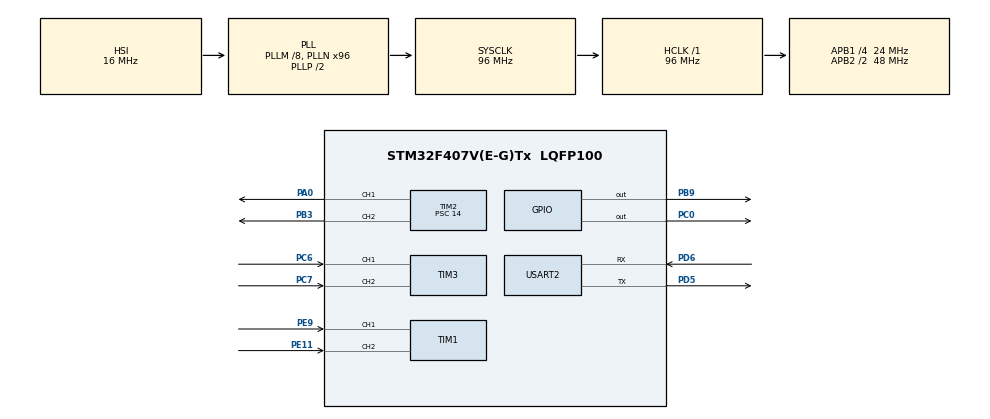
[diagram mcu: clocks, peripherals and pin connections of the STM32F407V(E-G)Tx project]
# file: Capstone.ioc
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Dma.Request0=USART2_RX
Dma.Request1=USART2_TX
Dma.USART2_RX.0.Direction=DMA_PERIPH_TO_MEMORY
Dma.USART2_RX.0.FIFOMode=DMA_FIFOMODE_DISABLE
Dma.USART2_RX.0.Instance=DMA1_Stream5
Dma.USART2_RX.0.MemDataAlignment=DMA_MDATAALIGN_BYTE
Dma.USART2_RX.0.MemInc=DMA_MINC_ENABLE
Dma.USART2_RX.0.Mode=DMA_NORMAL
Dma.USART2_RX.0.PeriphDataAlignment=DMA_PDATAALIGN_BYTE
Dma.USART2_RX.0.PeriphInc=DMA_PINC_DISABLE
Dma.USART2_RX.0.Priority=DMA_PRIORITY_VERY_HIGH
Dma.USART2_TX.1.Direction=DMA_MEMORY_TO_PERIPH
Dma.USART2_TX.1.FIFOMode=DMA_FIFOMODE_DISABLE
Dma.USART2_TX.1.Instance=DMA1_Stream6
Dma.USART2_TX.1.MemDataAlignment=DMA_MDATAALIGN_BYTE
Dma.USART2_TX.1.MemInc=DMA_MINC_ENABLE
Dma.USART2_TX.1.Mode=DMA_NORMAL
Dma.USART2_TX.1.PeriphDataAlignment=DMA_PDATAALIGN_BYTE
Dma.USART2_TX.1.PeriphInc=DMA_PINC_DISABLE
Dma.USART2_TX.1.Priority=DMA_PRIORITY_VERY_HIGH
Mcu.Family=STM32F4
Mcu.Name=STM32F407V(E-G)Tx
Mcu.Package=LQFP100
NVIC.DMA1_Stream5_IRQn=true\:0\:0\:false\:false\:true\:false\:true\:true
NVIC.DMA1_Stream6_IRQn=true\:0\:0\:false\:false\:true\:false\:true\:true
NVIC.PriorityGroup=NVIC_PRIORITYGROUP_4
NVIC.TIM5_IRQn=true\:0\:0\:true\:false\:true\:true\:true\:true
NVIC.TIM8_TRG_COM_TIM14_IRQn=true\:0\:0\:false\:false\:true\:true\:true\:true
NVIC.USART2_IRQn=true\:0\:0\:true\:false\:true\:true\:true\:true
PA0-WKUP.Signal=S_TIM2_CH1_ETR
PB3.Signal=S_TIM2_CH2
PB9.GPIO_Speed=GPIO_SPEED_FREQ_HIGH
PB9.Signal=GPIO_Output
PC0.Signal=GPIO_Output
PC6.Signal=S_TIM3_CH1
PC7.Signal=S_TIM3_CH2
PD5.Mode=Asynchronous
PD5.Signal=USART2_TX
PD6.Mode=Asynchronous
PD6.Signal=USART2_RX
PE11.Signal=S_TIM1_CH2
PE9.Signal=S_TIM1_CH1
ProjectManager.HeapSize=0x200
ProjectManager.StackSize=0x400
ProjectManager.TargetToolchain=STM32CubeIDE
RCC.48MHZClocksFreq_Value=48000000
RCC.AHBFreq_Value=96000000
RCC.APB1CLKDivider=RCC_HCLK_DIV4
RCC.APB1Freq_Value=24000000
RCC.APB1TimFreq_Value=48000000
RCC.APB2CLKDivider=RCC_HCLK_DIV2
RCC.APB2Freq_Value=48000000
RCC.APB2TimFreq_Value=96000000
RCC.CortexFreq_Value=96000000
RCC.HCLKFreq_Value=96000000
RCC.HSE_VALUE=25000000
RCC.HSI_VALUE=16000000
RCC.LSE_VALUE=32768
RCC.PLLM=8
RCC.PLLN=96
RCC.RCC_RTC_Clock_Source=RCC_RTCCLKSOURCE_LSI
RCC.RCC_RTC_Clock_SourceVirtual=RCC_RTCCLKSOURCE_LSI
RCC.SYSCLKFreq_VALUE=96000000
RCC.SYSCLKSource=RCC_SYSCLKSOURCE_PLLCLK
RCC.VCOOutputFreq_Value=192000000
SH.S_TIM1_CH1.0=TIM1_CH1,Encoder_Interface
SH.S_TIM1_CH2.0=TIM1_CH2,Encoder_Interface
SH.S_TIM2_CH1_ETR.0=TIM2_CH1,PWM Generation1 CH1
SH.S_TIM2_CH2.0=TIM2_CH2,PWM Generation2 CH2
SH.S_TIM3_CH1.0=TIM3_CH1,Encoder_Interface
SH.S_TIM3_CH2.0=TIM3_CH2,Encoder_Interface
TIM14.Period=50
TIM14.Prescaler=9600-1
TIM2.Channel-PWM\ Generation1\ CH1=TIM_CHANNEL_1
TIM2.Channel-PWM\ Generation2\ CH2=TIM_CHANNEL_2
TIM2.Period=600
TIM2.Prescaler=14
TIM5.Period=50
TIM5.Prescaler=9600-1
USART2.VirtualMode=VM_ASYNC
VP_TIM14_VS_ClockSourceINT.Mode=Enable_Timer
VP_TIM5_VS_ClockSourceINT.Mode=Internal
board=custom

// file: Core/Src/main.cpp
/* USER CODE BEGIN Header */
/**
  ******************************************************************************
  * @file           : main.c
  * @brief          : Main program body
  ******************************************************************************
  * @attention
  *
  * Copyright (c) 2023 STMicroelectronics.
  * All rights reserved.
  *
  * This software is licensed under terms that can be found in the LICENSE file
  * in the root directory of this software component.
  * If no LICENSE file comes with this software, it is provided AS-IS.
  *
  ******************************************************************************
  */
/* USER CODE END Header */
#include "main.h"

/* USER CODE BEGIN Includes */
#include "string.h"
#include "stdio.h"
#include "mainpp.h"
#include "math.h"
/* USER CODE END Includes */

/* USER CODE BEGIN PD */
#define TRUE  1
#define FALSE 0
/* USER CODE END PD */

TIM_HandleTypeDef htim1;
TIM_HandleTypeDef htim2;
TIM_HandleTypeDef htim3;
TIM_HandleTypeDef htim5;
TIM_HandleTypeDef htim14;

UART_HandleTypeDef huart2;
DMA_HandleTypeDef hdma_usart2_rx;
DMA_HandleTypeDef hdma_usart2_tx;

/* USER CODE BEGIN PV */
//Attitude attitude;

float Setpoint_value_m1, Setpoint_value_m2 = 0;

//Constant Kp
float Kp_m1, Kp_m2 = 0.0;
//Constant Ki
float Ki_m1, Ki_m2 = 0.0;
//Constant Kd
float Kd_m1, Kd_m2 = 0.0;

volatile int16_t Encoder_cnt_m1, Encoder_cnt_m2, duty_m1, duty_m2;
uint16_t cnt = 0;

struct Wheel m1 = { 0, 0, 0, 0, 0, 0, 0, 0 };
struct Wheel m2 = { 0, 0, 0, 0, 0, 0, 0, 0 };

int Encoder_cnt1;
int pre_Encoder_cnt1;
int Encoder_cnt2;
int pre_Encoder_cnt2;
float encoder_cpr = 40000.0; // counts per revolution for the encoder
float rps1 = 0.0; // calculate RPS 1
float rps1_pre = 0.0; // calculate RPS 1
float rps1_filter = 0.0;
float rps1_filter_pre = 0.0;
float rps2 = 0.0; // calculate RPS 2
float rps2_pre = 0.0; // calculate RPS 1
float rps2_filter = 0.0;
float rps2_filter_pre = 0.0;
float rpm1 = 0.0;
float rpm2 = 0.0;
float start_time = 0;
float end_time = 0;
float frequency = 0;
int stop = 0;
/* USER CODE END PV */

void SystemClock_Config(void);
static void MX_GPIO_Init(void);
static void MX_DMA_Init(void);
static void MX_USART2_UART_Init(void);
static void MX_TIM2_Init(void);
static void MX_TIM3_Init(void);
static void MX_TIM5_Init(void);
static void MX_TIM14_Init(void);
static void MX_TIM1_Init(void);

/* USER CODE BEGIN 0 */
//MPUXX50 imu(&hi2c2, AD0_LOW);
/* USER CODE END 0 */

int main(void)
{

  /* MCU Configuration--------------------------------------------------------*/

  /* Reset of all peripherals, Initializes the Flash interface and the Systick. */
  HAL_Init();

  /* Configure the system clock */
  SystemClock_Config();

  /* Initialize all configured peripherals */
  MX_GPIO_Init();
  MX_DMA_Init();
  MX_USART2_UART_Init();
  MX_TIM2_Init();
  MX_TIM3_Init();
  MX_TIM5_Init();
  MX_TIM14_Init();
  MX_TIM1_Init();
  /* USER CODE BEGIN 2 */
  // Configure IMU
//   imu.setGyroFullScaleRange(GFSR_500DPS);
//   imu.setAccFullScaleRange(AFSR_4G);
//   imu.setDeltaTime(0.01);
//   imu.setTau(0.98);

   // Check if IMU configured properly and block if it didn't
   //while (imu.begin() != TRUE){HAL_Delay(500);}

   // Calibrate the IMU
   //imu.calibrateGyro(1500);

  //Set up 4x mode
   htim1.Instance->SMCR &= ~TIM_SMCR_SMS; // Clear EncoderMode field
   htim1.Instance->SMCR |= TIM_ENCODERMODE_TI12 << TIM_SMCR_SMS_Pos; // Set EncoderMode field to TIM_ENCODERMODE_TI12
   htim1.Instance->CCER &= ~TIM_CCER_CC1P; // Clear IC1Polarity field
   htim1.Instance->CCER |= TIM_ICPOLARITY_BOTHEDGE << TIM_CCER_CC1P_Pos; // Set IC1Polarity field to TIM_ICPOLARITY_BOTHEDGE
   htim1.Instance->CCER &= ~TIM_CCER_CC2P; // Clear IC2Polarity field
   htim1.Instance->CCER |= TIM_ICPOLARITY_BOTHEDGE << TIM_CCER_CC2P_Pos; // Set IC2Polarity field to TIM_ICPOLARITY_BOTHEDGE

   htim3.Instance->SMCR &= ~TIM_SMCR_SMS; // Clear EncoderMode field
   htim3.Instance->SMCR |= TIM_ENCODERMODE_TI12 << TIM_SMCR_SMS_Pos; // Set EncoderMode field to TIM_ENCODERMODE_TI12
   htim3.Instance->CCER &= ~TIM_CCER_CC1P; // Clear IC1Polarity field
   htim3.Instance->CCER |= TIM_ICPOLARITY_BOTHEDGE << TIM_CCER_CC1P_Pos; // Set IC1Polarity field to TIM_ICPOLARITY_BOTHEDGE
   htim3.Instance->CCER &= ~TIM_CCER_CC2P; // Clear IC2Polarity field
   htim3.Instance->CCER |= TIM_ICPOLARITY_BOTHEDGE << TIM_CCER_CC2P_Pos; // Set IC2Polarity field to TIM_ICPOLARITY_BOTHEDGE

	//Start timer
	HAL_TIM_PWM_Start(&htim2, TIM_CHANNEL_1);
	HAL_TIM_PWM_Start(&htim2, TIM_CHANNEL_2);
	HAL_TIM_Encoder_Start(&htim1, TIM_CHANNEL_1 | TIM_CHANNEL_2);
	HAL_TIM_Encoder_Start(&htim3, TIM_CHANNEL_1 | TIM_CHANNEL_2);
	HAL_TIM_Base_Start_IT(&htim5);
	HAL_TIM_Base_Start_IT(&htim14);

	// Init setup for rosserial
	setup();
  /* USER CODE END 2 */

  /* Infinite loop */
  while (1)
  {

    /* USER CODE BEGIN 3 */
	  loop();
  }
  /* USER CODE END 3 */
}

void SystemClock_Config(void)
{
  RCC_OscInitTypeDef RCC_OscInitStruct = {0};
  RCC_ClkInitTypeDef RCC_ClkInitStruct = {0};

  /** Configure the main internal regulator output voltage
  */
  __HAL_RCC_PWR_CLK_ENABLE();
  __HAL_PWR_VOLTAGESCALING_CONFIG(PWR_REGULATOR_VOLTAGE_SCALE1);

  /** Initializes the RCC Oscillators according to the specified parameters
  * in the RCC_OscInitTypeDef structure.
  */
  RCC_OscInitStruct.OscillatorType = RCC_OSCILLATORTYPE_HSI;
  RCC_OscInitStruct.HSIState = RCC_HSI_ON;
  RCC_OscInitStruct.HSICalibrationValue = RCC_HSICALIBRATION_DEFAULT;
  RCC_OscInitStruct.PLL.PLLState = RCC_PLL_ON;
  RCC_OscInitStruct.PLL.PLLSource = RCC_PLLSOURCE_HSI;
  RCC_OscInitStruct.PLL.PLLM = 8;
  RCC_OscInitStruct.PLL.PLLN = 96;
  RCC_OscInitStruct.PLL.PLLP = RCC_PLLP_DIV2;
  RCC_OscInitStruct.PLL.PLLQ = 4;
  if (HAL_RCC_OscConfig(&RCC_OscInitStruct) != HAL_OK)
  {
    Error_Handler();
  }

  /** Initializes the CPU, AHB and APB buses clocks
  */
  RCC_ClkInitStruct.ClockType = RCC_CLOCKTYPE_HCLK|RCC_CLOCKTYPE_SYSCLK
                              |RCC_CLOCKTYPE_PCLK1|RCC_CLOCKTYPE_PCLK2;
  RCC_ClkInitStruct.SYSCLKSource = RCC_SYSCLKSOURCE_PLLCLK;
  RCC_ClkInitStruct.AHBCLKDivider = RCC_SYSCLK_DIV1;
  RCC_ClkInitStruct.APB1CLKDivider = RCC_HCLK_DIV4;
  RCC_ClkInitStruct.APB2CLKDivider = RCC_HCLK_DIV2;

  if (HAL_RCC_ClockConfig(&RCC_ClkInitStruct, FLASH_LATENCY_3) != HAL_OK)
  {
    Error_Handler();
  }
}

static void MX_TIM1_Init(void)
{

  TIM_Encoder_InitTypeDef sConfig = {0};
  TIM_MasterConfigTypeDef sMasterConfig = {0};

  htim1.Instance = TIM1;
  htim1.Init.Prescaler = 0;
  htim1.Init.CounterMode = TIM_COUNTERMODE_UP;
  htim1.Init.Period = 65535;
  htim1.Init.ClockDivision = TIM_CLOCKDIVISION_DIV1;
  htim1.Init.RepetitionCounter = 0;
  htim1.Init.AutoReloadPreload = TIM_AUTORELOAD_PRELOAD_DISABLE;
  sConfig.EncoderMode = TIM_ENCODERMODE_TI1;
  sConfig.IC1Polarity = TIM_ICPOLARITY_RISING;
  sConfig.IC1Selection = TIM_ICSELECTION_DIRECTTI;
  sConfig.IC1Prescaler = TIM_ICPSC_DIV1;
  sConfig.IC1Filter = 0;
  sConfig.IC2Polarity = TIM_ICPOLARITY_RISING;
  sConfig.IC2Selection = TIM_ICSELECTION_DIRECTTI;
  sConfig.IC2Prescaler = TIM_ICPSC_DIV1;
  sConfig.IC2Filter = 0;
  if (HAL_TIM_Encoder_Init(&htim1, &sConfig) != HAL_OK)
  {
    Error_Handler();
  }
  sMasterConfig.MasterOutputTrigger = TIM_TRGO_RESET;
  sMasterConfig.MasterSlaveMode = TIM_MASTERSLAVEMODE_DISABLE;
  if (HAL_TIMEx_MasterConfigSynchronization(&htim1, &sMasterConfig) != HAL_OK)
  {
    Error_Handler();
  }

}

static void MX_TIM2_Init(void)
{

  TIM_MasterConfigTypeDef sMasterConfig = {0};
  TIM_OC_InitTypeDef sConfigOC = {0};

  htim2.Instance = TIM2;
  htim2.Init.Prescaler = 14;
  htim2.Init.CounterMode = TIM_COUNTERMODE_UP;
  htim2.Init.Period = 600;
  htim2.Init.ClockDivision = TIM_CLOCKDIVISION_DIV1;
  htim2.Init.AutoReloadPreload = TIM_AUTORELOAD_PRELOAD_DISABLE;
  if (HAL_TIM_PWM_Init(&htim2) != HAL_OK)
  {
    Error_Handler();
  }
  sMasterConfig.MasterOutputTrigger = TIM_TRGO_RESET;
  sMasterConfig.MasterSlaveMode = TIM_MASTERSLAVEMODE_DISABLE;
  if (HAL_TIMEx_MasterConfigSynchronization(&htim2, &sMasterConfig) != HAL_OK)
  {
    Error_Handler();
  }
  sConfigOC.OCMode = TIM_OCMODE_PWM1;
  sConfigOC.Pulse = 0;
  sConfigOC.OCPolarity = TIM_OCPOLARITY_HIGH;
  sConfigOC.OCFastMode = TIM_OCFAST_DISABLE;
  if (HAL_TIM_PWM_ConfigChannel(&htim2, &sConfigOC, TIM_CHANNEL_1) != HAL_OK)
  {
    Error_Handler();
  }
  if (HAL_TIM_PWM_ConfigChannel(&htim2, &sConfigOC, TIM_CHANNEL_2) != HAL_OK)
  {
    Error_Handler();
  }
  HAL_TIM_MspPostInit(&htim2);

}

static void MX_TIM3_Init(void)
{

  TIM_Encoder_InitTypeDef sConfig = {0};
  TIM_MasterConfigTypeDef sMasterConfig = {0};

  htim3.Instance = TIM3;
  htim3.Init.Prescaler = 0;
  htim3.Init.CounterMode = TIM_COUNTERMODE_UP;
  htim3.Init.Period = 65535;
  htim3.Init.ClockDivision = TIM_CLOCKDIVISION_DIV1;
  htim3.Init.AutoReloadPreload = TIM_AUTORELOAD_PRELOAD_DISABLE;
  sConfig.EncoderMode = TIM_ENCODERMODE_TI1;
  sConfig.IC1Polarity = TIM_ICPOLARITY_RISING;
  sConfig.IC1Selection = TIM_ICSELECTION_DIRECTTI;
  sConfig.IC1Prescaler = TIM_ICPSC_DIV1;
  sConfig.IC1Filter = 0;
  sConfig.IC2Polarity = TIM_ICPOLARITY_RISING;
  sConfig.IC2Selection = TIM_ICSELECTION_DIRECTTI;
  sConfig.IC2Prescaler = TIM_ICPSC_DIV1;
  sConfig.IC2Filter = 0;
  if (HAL_TIM_Encoder_Init(&htim3, &sConfig) != HAL_OK)
  {
    Error_Handler();
  }
  sMasterConfig.MasterOutputTrigger = TIM_TRGO_RESET;
  sMasterConfig.MasterSlaveMode = TIM_MASTERSLAVEMODE_DISABLE;
  if (HAL_TIMEx_MasterConfigSynchronization(&htim3, &sMasterConfig) != HAL_OK)
  {
    Error_Handler();
  }

}

static void MX_TIM5_Init(void)
{

  TIM_ClockConfigTypeDef sClockSourceConfig = {0};
  TIM_MasterConfigTypeDef sMasterConfig = {0};

  htim5.Instance = TIM5;
  htim5.Init.Prescaler = 9600-1;
  htim5.Init.CounterMode = TIM_COUNTERMODE_UP;
  htim5.Init.Period = 50;
  htim5.Init.ClockDivision = TIM_CLOCKDIVISION_DIV1;
  htim5.Init.AutoReloadPreload = TIM_AUTORELOAD_PRELOAD_DISABLE;
  if (HAL_TIM_Base_Init(&htim5) != HAL_OK)
  {
    Error_Handler();
  }
  sClockSourceConfig.ClockSource = TIM_CLOCKSOURCE_INTERNAL;
  if (HAL_TIM_ConfigClockSource(&htim5, &sClockSourceConfig) != HAL_OK)
  {
    Error_Handler();
  }
  sMasterConfig.MasterOutputTrigger = TIM_TRGO_RESET;
  sMasterConfig.MasterSlaveMode = TIM_MASTERSLAVEMODE_DISABLE;
  if (HAL_TIMEx_MasterConfigSynchronization(&htim5, &sMasterConfig) != HAL_OK)
  {
    Error_Handler();
  }

}

static void MX_TIM14_Init(void)
{

  htim14.Instance = TIM14;
  htim14.Init.Prescaler = 9600-1;
  htim14.Init.CounterMode = TIM_COUNTERMODE_UP;
  htim14.Init.Period = 50;
  htim14.Init.ClockDivision = TIM_CLOCKDIVISION_DIV1;
  htim14.Init.AutoReloadPreload = TIM_AUTORELOAD_PRELOAD_DISABLE;
  if (HAL_TIM_Base_Init(&htim14) != HAL_OK)
  {
    Error_Handler();
  }

}

static void MX_USART2_UART_Init(void)
{

  huart2.Instance = USART2;
  huart2.Init.BaudRate = 57600;
  huart2.Init.WordLength = UART_WORDLENGTH_8B;
  huart2.Init.StopBits = UART_STOPBITS_1;
  huart2.Init.Parity = UART_PARITY_NONE;
  huart2.Init.Mode = UART_MODE_TX_RX;
  huart2.Init.HwFlowCtl = UART_HWCONTROL_NONE;
  huart2.Init.OverSampling = UART_OVERSAMPLING_16;
  if (HAL_UART_Init(&huart2) != HAL_OK)
  {
    Error_Handler();
  }

}

static void MX_DMA_Init(void)
{

  /* DMA controller clock enable */
  __HAL_RCC_DMA1_CLK_ENABLE();

  /* DMA interrupt init */
  /* DMA1_Stream5_IRQn interrupt configuration */
  HAL_NVIC_SetPriority(DMA1_Stream5_IRQn, 0, 0);
  HAL_NVIC_EnableIRQ(DMA1_Stream5_IRQn);
  /* DMA1_Stream6_IRQn interrupt configuration */
  HAL_NVIC_SetPriority(DMA1_Stream6_IRQn, 0, 0);
  HAL_NVIC_EnableIRQ(DMA1_Stream6_IRQn);

}

static void MX_GPIO_Init(void)
{
  GPIO_InitTypeDef GPIO_InitStruct = {0};

  /* GPIO Ports Clock Enable */
  __HAL_RCC_GPIOC_CLK_ENABLE();
  __HAL_RCC_GPIOA_CLK_ENABLE();
  __HAL_RCC_GPIOE_CLK_ENABLE();
  __HAL_RCC_GPIOD_CLK_ENABLE();
  __HAL_RCC_GPIOB_CLK_ENABLE();

  /*Configure GPIO pin Output Level */
  HAL_GPIO_WritePin(GPIOC, GPIO_PIN_0, GPIO_PIN_RESET);

  /*Configure GPIO pin Output Level */
  HAL_GPIO_WritePin(GPIOB, GPIO_PIN_9, GPIO_PIN_RESET);

  /*Configure GPIO pin : PC0 */
  GPIO_InitStruct.Pin = GPIO_PIN_0;
  GPIO_InitStruct.Mode = GPIO_MODE_OUTPUT_PP;
  GPIO_InitStruct.Pull = GPIO_NOPULL;
  GPIO_InitStruct.Speed = GPIO_SPEED_FREQ_LOW;
  HAL_GPIO_Init(GPIOC, &GPIO_InitStruct);

  /*Configure GPIO pin : PB9 */
  GPIO_InitStruct.Pin = GPIO_PIN_9;
  GPIO_InitStruct.Mode = GPIO_MODE_OUTPUT_PP;
  GPIO_InitStruct.Pull = GPIO_NOPULL;
  GPIO_InitStruct.Speed = GPIO_SPEED_FREQ_HIGH;
  HAL_GPIO_Init(GPIOB, &GPIO_InitStruct);

}

/* USER CODE BEGIN 4 */
void HAL_TIM_PeriodElapsedCallback(TIM_HandleTypeDef *htim)
{
  // Callback, timer has rolled over
  if (htim == &htim5) //100Hz
  {

	m1.v = rpm1;
	m1.e = Setpoint_value_m1 - m1.v;

	m1.P_control = Kp_m1 * (m1.e - m1.e_prev);
	m1.I_control = 0.5 * Ki_m1 * 0.01 * (m1.e + m1.e_prev);
	m1.D_control = Kd_m1 * 100 * (m1.e - 2 * m1.e_prev + m1.e_prev_prev);
	m1.u = m1.u_prev + m1.P_control + m1.I_control + m1.D_control;

	duty_m1 = (int) (m1.u*600/150);

	if (m1.u < 0) {
	HAL_GPIO_WritePin(GPIOC, GPIO_PIN_0, GPIO_PIN_SET);
	duty_m1 = -duty_m1;
	} else{
	HAL_GPIO_WritePin(GPIOC, GPIO_PIN_0, GPIO_PIN_RESET);
	}

	if (duty_m1 > 600)
	{
		duty_m1 = 600;
	}

	if(stop != 2)
	{
		htim2.Instance->CCR1 = duty_m1;
		m1.e_prev_prev = m1.e_prev;
		m1.e_prev = m1.e;
		m1.u_prev = m1.u;
	}
	else if (stop == 2)
	{
		htim2.Instance->CCR1 = 0;
		m1.e = 0;
		m1.u = 0;
		m1.e_prev_prev = 0;
		m1.e_prev = 0;
		m1.u_prev = 0;
	}

	//Wheel 2
	m2.v = rpm2;
	m2.e = Setpoint_value_m2 - m2.v;
	m2.P_control = Kp_m2 * (m2.e - m2.e_prev);
	m2.I_control = 0.5 * Ki_m2 * 0.01 * (m2.e + m2.e_prev);
	m2.D_control = Kd_m2 * 100 * (m2.e - 2 * m2.e_prev + m2.e_prev_prev);
	m2.u = m2.u_prev + m2.P_control + m2.I_control + m2.D_control;

	duty_m2 = (int) (m2.u*600/150);
	if (m2.u < 0) {
	HAL_GPIO_WritePin(GPIOB, GPIO_PIN_9, GPIO_PIN_SET);
	duty_m2 = -duty_m2;
	} else
	{
	HAL_GPIO_WritePin(GPIOB, GPIO_PIN_9, GPIO_PIN_RESET);
	}

	if (duty_m2 > 600)
	{
		duty_m2 = 600;
	}

	if(stop != 2)
	{
		htim2.Instance->CCR2 = duty_m2;
		m2.e_prev_prev = m2.e_prev;
		m2.e_prev = m2.e;
		m2.u_prev = m2.u;
	}
	else if (stop == 2)
	{
		htim2.Instance->CCR2 = 0;
		m2.e = 0;
		m2.u = 0;
		m2.e_prev_prev = 0;
		m2.e_prev = 0;
		m2.u_prev = 0;
	}

  }
  if (htim == &htim14) //100Hz
  {
	  start_time = HAL_GetTick()/1000.0;
	  frequency = 1/(start_time-end_time);
	  end_time = start_time;
	  Encoder_cnt1 = __HAL_TIM_GET_COUNTER(&htim1);
	  Encoder_cnt2 = __HAL_TIM_GET_COUNTER(&htim3);
	  if (!(abs(Encoder_cnt1 - pre_Encoder_cnt1) > 30000))
	  {
		  rps1 = ((float)(Encoder_cnt1 - pre_Encoder_cnt1) / encoder_cpr) / 0.01; // calculate RPS 1
		  rps1_filter = 0.96906992*rps1_filter_pre + 0.01546504*rps1 + 0.01546504*rps1_pre;
		  rps1_filter_pre = rps1_filter;
		  rps1_pre = rps1;
		  //rpm1 = rps1*60.0;
		  rpm1 = rps1_filter*60.0;
	  }
	  if (!(abs(Encoder_cnt2 - pre_Encoder_cnt2) > 30000))
	  {
		  rps2 = ((float)(Encoder_cnt2 - pre_Encoder_cnt2) / encoder_cpr) / 0.01; // calculate RPS 2
		  rps2_filter = 0.96906992*rps2_filter_pre + 0.01546504*rps2 + 0.01546504*rps2_pre;
		  rps2_filter_pre = rps2_filter;
		  rps2_pre = rps2;
		  //rpm2 = rps2*60.0;
		  rpm2 = rps2_filter*60.0;
	  }
	  pre_Encoder_cnt1 = Encoder_cnt1;
	  pre_Encoder_cnt2 = Encoder_cnt2;
  }
}
/* USER CODE END 4 */

void Error_Handler(void)
{
  __disable_irq();
  while (1)
  {
  }
}
